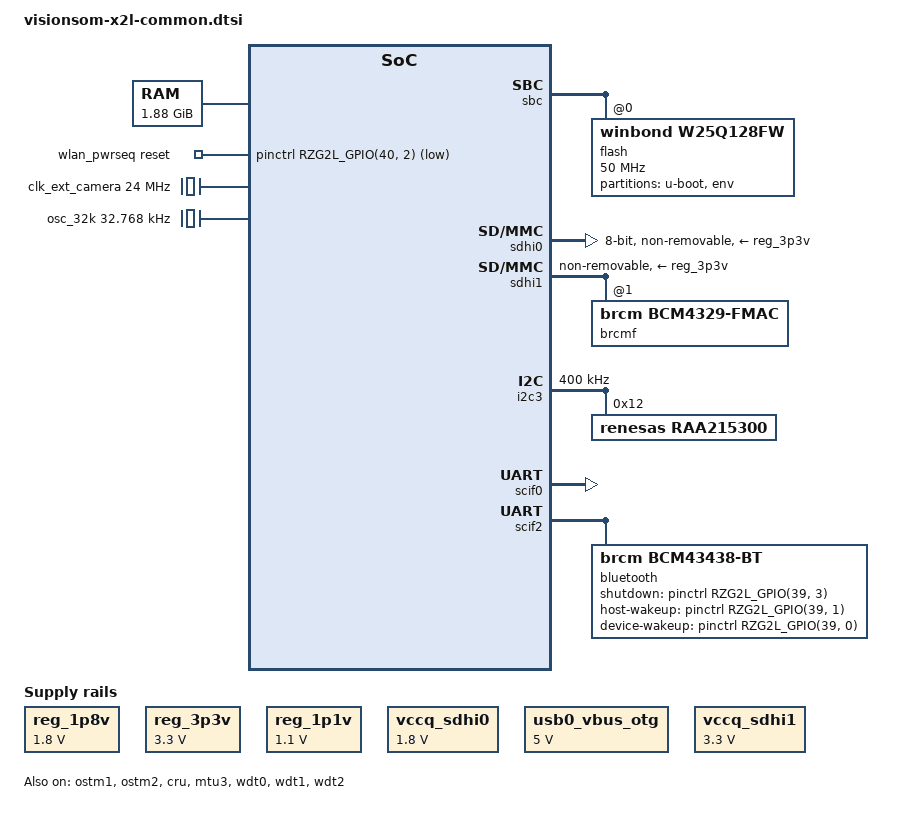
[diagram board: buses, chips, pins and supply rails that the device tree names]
// SPDX-License-Identifier: (GPL-2.0-only OR BSD-2-Clause)
/*
 * Device Tree Source for VisionSOM-x2L - common parts
 *
 * Copyright (C) 2023 Somlabs
 */

#include <dt-bindings/gpio/gpio.h>
#include <dt-bindings/pinctrl/rzg2l-pinctrl.h>

/ {
	aliases {
		serial0 = &scif0;
		serial1 = &scif1;
		serial2 = &scif2;
		serial3 = &scif3;
		serial4 = &scif4;

		i2c0 = &i2c0;
		i2c1 = &i2c1;
		i2c2 = &i2c2;
		i2c3 = &i2c3;

		spi0 = &spi0;
		spi1 = &spi1;

		ethernet0 = &eth0;
		ethernet1 = &eth1;

		mmc0 = &sdhi0;
	};

	chosen {
		bootargs = "ignore_loglevel rw root=/dev/nfs ip=on";
		stdout-path = "serial0:115200n8";
	};

	memory@48000000 {
		device_type = "memory";
		/* first 128MB is reserved for secure area. */
		reg = <0x0 0x48000000 0x0 0x78000000>;
	};

	reserved-memory {
		#address-cells = <2>;
		#size-cells = <2>;
		ranges;

		global_cma: linux,cma@58000000 {
			compatible = "shared-dma-pool";
			linux,cma-default;
			reusable;
			reg = <0x0 0x58000000 0x0 0x10000000>;
		};
		mmp_reserved: linux,multimedia {
			compatible = "shared-dma-pool";
			reusable;
			reg = <0x00000000 0x68000000 0x0 0x8000000>;
		};
	};

	mmngr {
		compatible = "renesas,mmngr";
		memory-region = <&mmp_reserved>;
	};

	mmngrbuf {
		compatible = "renesas,mmngrbuf";
	};

	vspm_if {
		compatible = "renesas,vspm_if";
	};

	reg_1p8v: regulator0 {
		compatible = "regulator-fixed";
		regulator-name = "fixed-1.8V";
		regulator-min-microvolt = <1800000>;
		regulator-max-microvolt = <1800000>;
		regulator-boot-on;
		regulator-always-on;
	};

	reg_3p3v: regulator1 {
		compatible = "regulator-fixed";
		regulator-name = "fixed-3.3V";
		regulator-min-microvolt = <3300000>;
		regulator-max-microvolt = <3300000>;
		regulator-boot-on;
		regulator-always-on;
	};

	reg_1p1v: regulator-vdd-core {
		compatible = "regulator-fixed";
		regulator-name = "fixed-1.1V";
		regulator-min-microvolt = <1100000>;
		regulator-max-microvolt = <1100000>;
		regulator-boot-on;
		regulator-always-on;
	};

	vccq_sdhi0: regulator-vccq-sdhi0 {
		compatible = "regulator-fixed";
		regulator-name = "SDHI0 VccQ";
		regulator-min-microvolt = <1800000>;
		regulator-max-microvolt = <1800000>;
		regulator-boot-on;
		regulator-always-on;
	};

	wlan_pwrseq: wlanpwrseq {
		compatible = "mmc-pwrseq-simple";
		reset-gpios = <&pinctrl RZG2L_GPIO(40, 2) GPIO_ACTIVE_LOW>;
	};

	usb0_vbus_otg: regulator-usb0-vbus-otg {
		compatible = "regulator-fixed";

		regulator-name = "USB0_VBUS_OTG";
		regulator-min-microvolt = <5000000>;
		regulator-max-microvolt = <5000000>;
	};

	vccq_sdhi1: regulator-vccq-sdhi1 {
		compatible = "regulator-fixed";
		regulator-name = "SDHI1 VccQ";
		regulator-min-microvolt = <3300000>;
		regulator-max-microvolt = <3300000>;
		regulator-boot-on;
		regulator-always-on;
	};

	clk_ext_camera: clk_ext_camera {
		compatible = "fixed-clock";
		#clock-cells = <0>;
		clock-frequency = <24000000>;
	};

	osc_32k: osc_32k {
		compatible = "fixed-clock";
		#clock-cells = <0>;
		clock-frequency = <32768>;
	};
};

/*****************************************************************************/
/* SOM internal resources */
/*****************************************************************************/

&sbc {
	pinctrl-0 = <&qspi0_pins>;
	pinctrl-names = "default";
	status = "okay";

	flash@0 {
		compatible = "winbond,w25q128fw", "jedec,spi-nor";
		reg = <0>;
		m25p,fast-read;
		spi-max-frequency = <50000000>;
		spi-rx-bus-width = <4>;
		spi-tx-bus-width = <4>;

		partitions {
			compatible = "fixed-partitions";
			#address-cells = <1>;
			#size-cells = <1>;

			partition@0000000 {
				label = "u-boot";
				reg = <0x00000000 0x80000>;
				read-only;
			};
			partition@80000 {
				label = "env";
				reg = <0x00080000 0x40000>;
				read-only;
			};
		};
	};
};

&extal_clk {
	clock-frequency = <24000000>;
};

&gpu {
	mali-supply = <&reg_1p1v>;

	/* this is need to avoid problems with enabling unprepared clock */
	/delete-property/power-domains;
};

&ostm1 {
	status = "okay";
};

&ostm2 {
	status = "okay";
};

&cru {
	status = "okay";
};

&mtu3 {
	status = "okay";
};

&wdt0 {
	status = "okay";
	timeout-sec = <60>;
};

&wdt1 {
	status = "okay";
	timeout-sec = <60>;
};

&wdt2 {
	status = "okay";
	timeout-sec = <60>;
};

&sdhi0 {	/* onboard eMMC device */
	pinctrl-0 = <&sdhi0_emmc_pins>;
	pinctrl-1 = <&sdhi0_emmc_pins>;
	pinctrl-names = "default", "state_uhs";

	vmmc-supply = <&reg_3p3v>;
	vqmmc-supply = <&reg_1p8v>;
	bus-width = <8>;
	mmc-hs200-1_8v;
	non-removable;
	fixed-emmc-driver-type = <1>;
	status = "okay";
};

&sdhi1 {	/* onboard Murata 1DX WLAN module */
	#address-cells = <1>;
	#size-cells = <0>;

	pinctrl-0 = <&sdhi1_pins>;
	pinctrl-names = "default";

	vmmc-supply = <&reg_3p3v>;
	vqmmc-supply = <&vccq_sdhi1>;

	pm-ignore-notify;
	keep-power-in-suspend;
	non-removable;
	status = "okay";
	cap-power-off-card;
	mmc-pwrseq = <&wlan_pwrseq>;

	brcmf: bcrmf@1 {
		reg = <1>;
		compatible = "brcm,bcm4329-fmac";
	};
};

&i2c3 {
	pinctrl-0 = <&i2c3_pins>;
	pinctrl-names = "default";
	clock-frequency = <400000>;

	status = "okay";

	raa215300: pmic@12 {
		compatible = "renesas,raa215300";
		reg = <0x12>, <0x6f>;
		reg-names = "main", "rtc";

		clocks = <&osc_32k>;
		clock-names = "xin";
	};
};

&scif0 {	/* default console */
	pinctrl-0 = <&scif0_pins>;
	pinctrl-names = "default";
	status = "okay";
};

&scif2 {	/* onboard Murata 1DX Bluetotoh module */
	pinctrl-0 = <&scif2_pins>;
	pinctrl-names = "default";
	uart-has-rtscts;
	status = "okay";
	bluetooth {
		compatible = "brcm,bcm43438-bt";
		max-speed = <921600>;
		shutdown-gpios = <&pinctrl RZG2L_GPIO(39, 3) GPIO_ACTIVE_HIGH>;
		host-wakeup-gpios = <&pinctrl RZG2L_GPIO(39, 1) GPIO_ACTIVE_HIGH>;
		device-wakeup-gpios = <&pinctrl RZG2L_GPIO(39, 0) GPIO_ACTIVE_HIGH>;
		clocks = <&osc_32k>;
		clock-names = "extclk";
	};
};

/*****************************************************************************/
/* default configuration exposed on SODIMM - disabled by default             */
/* shall be enabled (and possibly reconfigured) in carrier board dts files   */
/* see [@visionsom-x2l-cb.dtsi and @visionsom-g2l-cb.dts] for reference      */
/*****************************************************************************/
/* serial port interfaces */
&scif1 {
	pinctrl-0 = <&scif1_pins>;
	pinctrl-names = "default";
};

&scif3 {
	pinctrl-0 = <&scif3_pins>;
	pinctrl-names = "default";
};

&scif4 {
	pinctrl-0 = <&scif4_pins>;
	pinctrl-names = "default";
};

/* SPI interfaces */
&spi0 {
	pinctrl-0 = <&spi0_pins>;
	pinctrl-names = "default";
	// dmas = <&dmac 0x2e99>, <&dmac 0x2e9a>;
	dma-names = "tx", "rx";
};

&spi1 {
	pinctrl-0 = <&spi1_pins>;
	pinctrl-names = "default";
	dmas = <&dmac 0x2e99>, <&dmac 0x2e9a>;
	dma-names = "tx", "rx";
};

/* CAN interfaces */
&canfd {
	pinctrl-0 = <&can0_pins &can1_pins>;
	pinctrl-names = "default";
};

/* I2C interfaces */
&i2c0 {
	pinctrl-0 = <&i2c0_pins>;
	pinctrl-names = "default";
};

&i2c1 {
	pinctrl-0 = <&i2c1_pins>;
	pinctrl-names = "default";
};

&i2c2 {
	pinctrl-0 = <&i2c2_pins>;
	pinctrl-names = "default";
};

/* Ethernet interfaces */
&eth0 {
	pinctrl-0 = <&eth0_pins>;
	pinctrl-names = "default";
};

&eth1 {
	pinctrl-0 = <&eth1_pins>;
	pinctrl-names = "default";
};

/* serial sound interface */
&ssi0 {
	pinctrl-0 = <&ssi0_pins &sound_clk_pins>;
	pinctrl-names = "default";
};

/* USB interfaces */
&ehci0 {
	memory-region = <&global_cma>;
};

&ohci0 {
	memory-region = <&global_cma>;
};

&hsusb {
};

&usb2_phy0 {
	pinctrl-0 = <&usb0_pins>;
	pinctrl-names = "default";

	vbus-supply = <&usb0_vbus_otg>;
};

&ehci1 {
	memory-region = <&global_cma>;
};

&ohci1 {
	memory-region = <&global_cma>;
};

&usb2_phy1 {
	pinctrl-0 = <&usb1_pins>;
	pinctrl-names = "default";
};

&phyrst {

};
